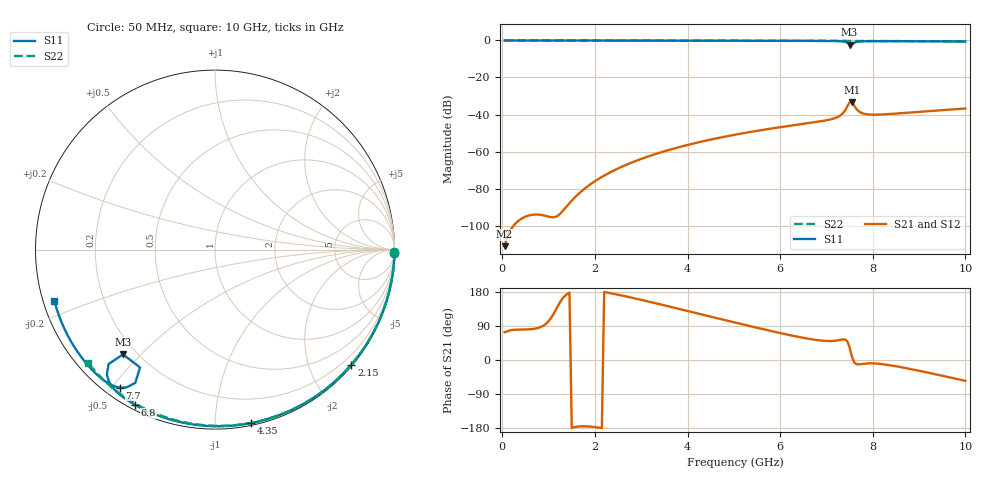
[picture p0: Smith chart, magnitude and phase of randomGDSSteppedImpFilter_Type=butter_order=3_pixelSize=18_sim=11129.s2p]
! freq	dB(S11)	phase(S11)	dB(S12)	phase(S12)
!  dB(S21)	phase(S21)	dB(S22)	phase(S22)
!S-par simulation data
#  GHz  S  DB  R 50
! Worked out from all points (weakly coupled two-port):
!   200 points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, 50 MHz to 10 GHz, reference 50 ohm
!   highest |S21| = -33.33 dB at 7.55 GHz (marker M1); lowest = -111.1 dB at 50 MHz (marker M2)
!   lowest |S11| = -2.2 dB at 7.5 GHz (marker M3), VSWR 7.97, Z = 7.54 - j22.2 ohm
!   |S11| at or under -10 dB: nowhere
!   |S22| runs from -0.5 to 0.0 dB; largest |S21 - S12| = 0
!   S11 on the Smith chart (normalised r, x): 50 MHz: open; 2.15 GHz: 0.02, -2.73; 4.35 GHz: 0.02, -1.23; 6.8 GHz: 0.02, -0.61; 7.7 GHz: 0.04, -0.53; 10 GHz: 0.03, -0.16
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0.05  -0.00 -1.0  -111.12 73.5  -111.12 73.5  -0.00 -0.8
0.85  -0.02 -16.2  -94.27 88.2  -94.27 88.2  -0.02 -13.5
1.75  -0.04 -32.9  -80.63 -174.8  -80.63 -174.8  -0.04 -27.6
2.15  -0.05 -40.2  -73.72 -179.6  -73.72 -179.6  -0.04 -33.8
2.7  -0.06 -50.0  -66.92 167.1  -66.92 167.1  -0.05 -42.1
3.4  -0.08 -62.2  -60.62 147.2  -60.62 147.2  -0.07 -52.5
4.35  -0.11 -78.2  -54.37 118.9  -54.37 118.9  -0.09 -66.2
5.05  -0.14 -89.6  -50.80 98.1  -50.80 98.1  -0.12 -75.9
5.9  -0.18 -103.0  -47.23 73.8  -47.23 73.8  -0.15 -87.4
6.7  -0.23 -115.6  -44.34 54.3  -44.34 54.3  -0.19 -97.8
6.8  -0.24 -117.2  -43.96 52.5  -43.96 52.5  -0.20 -99.1
7.1  -0.29 -122.6  -42.56 50.1  -42.56 50.1  -0.21 -102.9
7.3  -0.42 -127.3  -40.49 53.2  -40.49 53.2  -0.23 -105.4
7.4  -0.72 -130.9  -37.86 54.3  -37.86 54.3  -0.24 -106.6
7.45  -1.21 -132.9  -35.65 49.6  -35.65 49.6  -0.24 -107.3
7.5  -2.19 -131.3  -33.37 33.6  -33.37 33.6  -0.24 -107.9
7.55  -2.18 -122.5  -33.33 8.4  -33.33 8.4  -0.24 -108.5
7.6  -1.26 -120.9  -35.30 -6.6  -35.30 -6.6  -0.24 -109.1
7.7  -0.60 -124.5  -38.30 -11.5  -38.30 -11.5  -0.25 -110.4
7.9  -0.40 -129.6  -39.97 -8.9  -39.97 -8.9  -0.27 -112.9
8.35  -0.38 -137.4  -39.76 -13.5  -39.76 -13.5  -0.30 -118.4
10  -0.54 -162.3  -36.74 -55.1  -36.74 -55.1  -0.47 -138.4
